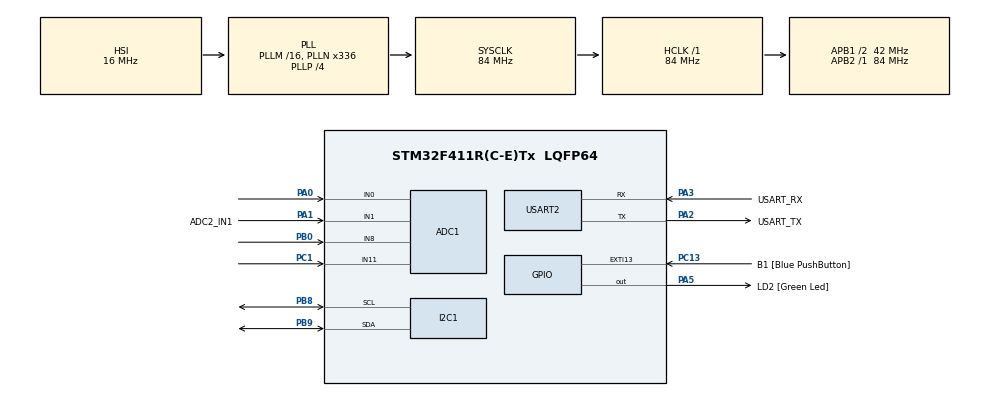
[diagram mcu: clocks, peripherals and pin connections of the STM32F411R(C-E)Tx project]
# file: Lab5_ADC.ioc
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ADC1.Channel-0\#ChannelRegularConversion=ADC_CHANNEL_0
ADC1.Channel-1\#ChannelRegularConversion=ADC_CHANNEL_1
ADC1.Channel-2\#ChannelRegularConversion=ADC_CHANNEL_8
ADC1.Channel-3\#ChannelRegularConversion=ADC_CHANNEL_11
ADC1.ContinuousConvMode=ENABLE
ADC1.NbrOfConversion=4
ADC1.NbrOfConversionFlag=1
ADC1.Rank-0\#ChannelRegularConversion=1
ADC1.Rank-1\#ChannelRegularConversion=2
ADC1.Rank-2\#ChannelRegularConversion=3
ADC1.Rank-3\#ChannelRegularConversion=4
ADC1.SamplingTime-0\#ChannelRegularConversion=ADC_SAMPLETIME_480CYCLES
ADC1.SamplingTime-1\#ChannelRegularConversion=ADC_SAMPLETIME_480CYCLES
ADC1.SamplingTime-2\#ChannelRegularConversion=ADC_SAMPLETIME_480CYCLES
ADC1.SamplingTime-3\#ChannelRegularConversion=ADC_SAMPLETIME_480CYCLES
ADC1.ScanConvMode=ENABLE
ADC1.master=1
Mcu.Family=STM32F4
Mcu.Name=STM32F411R(C-E)Tx
Mcu.Package=LQFP64
NVIC.ADC_IRQn=true\:0\:0\:false\:false\:true\:true\:true\:true
NVIC.PriorityGroup=NVIC_PRIORITYGROUP_0
NVIC.TIM2_IRQn=true\:0\:0\:false\:false\:true\:true\:true\:true
PA0-WKUP.Signal=ADCx_IN0
PA1.GPIO_Label=ADC2_IN1
PA1.Signal=ADCx_IN1
PA13.GPIO_Label=TMS
PA13.Mode=Serial_Wire
PA13.Signal=SYS_JTMS-SWDIO
PA14.GPIO_Label=TCK
PA14.Mode=Serial_Wire
PA14.Signal=SYS_JTCK-SWCLK
PA2.GPIO_Label=USART_TX
PA2.Mode=Asynchronous
PA2.Signal=USART2_TX
PA3.GPIO_Label=USART_RX
PA3.Mode=Asynchronous
PA3.Signal=USART2_RX
PA5.GPIO_Label=LD2 [Green Led]
PA5.Signal=GPIO_Output
PB0.Signal=ADCx_IN8
PB3.GPIO_Label=SWO
PB3.Signal=SYS_JTDO-SWO
PB8.Mode=I2C
PB8.Signal=I2C1_SCL
PB9.Mode=I2C
PB9.Signal=I2C1_SDA
PC1.Signal=ADCx_IN11
PC13-ANTI_TAMP.GPIO_Label=B1 [Blue PushButton]
PC13-ANTI_TAMP.GPIO_ModeDefaultEXTI=GPIO_MODE_IT_FALLING
PC13-ANTI_TAMP.Signal=GPXTI13
PC14-OSC32_IN.Mode=LSE-External-Oscillator
PC14-OSC32_IN.Signal=RCC_OSC32_IN
PC15-OSC32_OUT.Mode=LSE-External-Oscillator
PC15-OSC32_OUT.Signal=RCC_OSC32_OUT
PH0\ -\ OSC_IN.Mode=HSE-External-Clock-Source
PH0\ -\ OSC_IN.Signal=RCC_OSC_IN
PH1\ -\ OSC_OUT.Mode=HSE-External-Clock-Source
PH1\ -\ OSC_OUT.Signal=RCC_OSC_OUT
ProjectManager.HeapSize=0x200
ProjectManager.StackSize=0x400
ProjectManager.TargetToolchain=STM32CubeIDE
RCC.48MHZClocksFreq_Value=84000000
RCC.AHBFreq_Value=84000000
RCC.APB1CLKDivider=RCC_HCLK_DIV2
RCC.APB1Freq_Value=42000000
RCC.APB1TimFreq_Value=84000000
RCC.APB2Freq_Value=84000000
RCC.APB2TimFreq_Value=84000000
RCC.CortexFreq_Value=84000000
RCC.FLatency-AdvancedSettings=FLASH_LATENCY_2
RCC.HCLKFreq_Value=84000000
RCC.HSE_VALUE=8000000
RCC.HSI_VALUE=16000000
RCC.PLLN=336
RCC.PLLP=RCC_PLLP_DIV4
RCC.SYSCLKFreq_VALUE=84000000
RCC.SYSCLKSource=RCC_SYSCLKSOURCE_PLLCLK
RCC.VCOOutputFreq_Value=336000000
SH.ADCx_IN0.0=ADC1_IN0,IN0
SH.ADCx_IN1.0=ADC1_IN1,IN1
SH.ADCx_IN11.0=ADC1_IN11,IN11
SH.ADCx_IN8.0=ADC1_IN8,IN8
TIM2.Prescaler=84-1
USART2.VirtualMode=VM_ASYNC
VP_TIM2_VS_ClockSourceINT.Mode=Internal
board=NUCLEO-F411RE

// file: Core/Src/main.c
/* USER CODE BEGIN Header */
/**
  ******************************************************************************
  * @file           : main.c
  * @brief          : Main program body
  ******************************************************************************
  * @attention
  *
  * Copyright (c) 2023 STMicroelectronics.
  * All rights reserved.
  *
  * This software is licensed under terms that can be found in the LICENSE file
  * in the root directory of this software component.
  * If no LICENSE file comes with this software, it is provided AS-IS.
  *
  ******************************************************************************
  */
/* USER CODE END Header */
#include "main.h"

/* USER CODE BEGIN Includes */
#include "lcd.h"
/* USER CODE END Includes */

/* USER CODE BEGIN PD */
#define ADC_BUF_SIZE 4

#define JOY_X_IX 0
#define JOY_Y_IX 1
#define FOTO_IX 2
#define L35_IX 3

int flag;
uint16_t adc_buffer[ADC_BUF_SIZE];
int adc_buf_ix = 0;
/* USER CODE END PD */

ADC_HandleTypeDef hadc1;

I2C_HandleTypeDef hi2c1;

TIM_HandleTypeDef htim2;

UART_HandleTypeDef huart2;

void SystemClock_Config(void);
static void MX_GPIO_Init(void);
static void MX_USART2_UART_Init(void);
static void MX_ADC1_Init(void);
static void MX_I2C1_Init(void);
static void MX_TIM2_Init(void);

/* USER CODE BEGIN 0 */
uint16_t read_one_adc_value(ADC_HandleTypeDef * hadc)
{
	HAL_ADC_Start(hadc);
	HAL_ADC_PollForConversion(hadc, 100);
	uint32_t reading = HAL_ADC_GetValue(hadc);
	HAL_ADC_Stop(hadc);
	return (uint16_t) reading;
}

float normalize_12bit(uint16_t x) {
    return 1-(float)x / 4095.0f;
}

// Funktion för att normalisera värdena till spannet -1.0 till 1.0
float normalize_12bit_posneg(uint16_t x) {
    return (2.0f * (float)x / 4095.0f) - 1.0f;
}

void print_normalized_value(float value, TextLCDType *hlcd, int number) {
    char buffer[10]; // För att lagra det formaterade värdet

    if(number ==0){
    	sprintf(buffer, "%+.2fx", value);
    	TextLCD_SetPos(hlcd, 0, 0);
    	TextLCD_PutStr(hlcd, buffer);

    }
    else if(number == 1){
    	sprintf(buffer, "%+.2fy", value);
    	TextLCD_SetPos(hlcd, 0, 1);
    	TextLCD_PutStr(hlcd, buffer);
    }
    else if(number == 2){
    	sprintf(buffer, "%.3fL", value);
    	TextLCD_SetPos(hlcd, 10, 1);
    	TextLCD_PutStr(hlcd, buffer);
    }
    else if(number == 3){
    	char degreeSymbol = 248;
    	sprintf(buffer, "%.1fC", value);
    	TextLCD_SetPos(hlcd, 11, 0);
    	TextLCD_PutStr(hlcd, buffer);
    }

    // Här kan du skicka "buffer" till LCD-skärmen för att visa värdet.
    // Exempelvis:
    // lcd_display(buffer); // Anpassa detta efter din LCD-skärms bibliotek
}

HAL_ADC_ConvCpltCallback(ADC_HandleTypeDef* hadc){

	if(hadc->Instance == ADC1){

		//if(__HAL_ADC_GET_FLAG(&hadc1, ADC_FLAG_EOC)){
		uint32_t adc_value = HAL_ADC_GetValue(hadc);
		adc_buffer[adc_buf_ix] =adc_value;
		adc_buf_ix++;

		if(adc_buf_ix >= ADC_BUF_SIZE){
			flag =1;
			adc_buf_ix =0;
		}

		//	}
	}
}

float lm35_to_celsius(uint16_t lm35_reading) {

	    // Konvertera till Celsius genom att dela med 10
	    float celsius = lm35_reading / 10.0f;

	    return celsius/2;
	}

/* USER CODE END 0 */

int main(void)
{

  /* MCU Configuration--------------------------------------------------------*/

  /* Reset of all peripherals, Initializes the Flash interface and the Systick. */
  HAL_Init();

  /* Configure the system clock */
  SystemClock_Config();

  /* Initialize all configured peripherals */
  MX_GPIO_Init();
  MX_USART2_UART_Init();
  MX_ADC1_Init();
  MX_I2C1_Init();
  MX_TIM2_Init();
  /* USER CODE BEGIN 2 */

  	TextLCDType hlcd;

  	TextLCD_Init(&hlcd, &hi2c1, 0x4E);
  	HAL_ADC_Start_IT(&hadc1);

  /* USER CODE END 2 */

  /* Infinite loop */
  /* USER CODE BEGIN WHILE */
  while (1)
  {
	  if (flag == 1){
		  TextLCD_Clear(&hlcd);

		  float value1 = normalize_12bit_posneg(adc_buffer[JOY_X_IX]);
		  print_normalized_value(value1, &hlcd, 0);

		  float value2 = normalize_12bit_posneg(adc_buffer[JOY_Y_IX]);
		  print_normalized_value(value2, &hlcd,1);

		  float value3 = normalize_12bit(adc_buffer[FOTO_IX]);
		  print_normalized_value(value3, &hlcd,2);

		  float value4 = lm35_to_celsius(adc_buffer[L35_IX]);
		  print_normalized_value(value4, &hlcd,3);

		  HAL_Delay(1000);
		  flag =0;

	  }

    /* USER CODE END WHILE */

  }
}

void SystemClock_Config(void)
{
  RCC_OscInitTypeDef RCC_OscInitStruct = {0};
  RCC_ClkInitTypeDef RCC_ClkInitStruct = {0};

  /** Configure the main internal regulator output voltage
  */
  __HAL_RCC_PWR_CLK_ENABLE();
  __HAL_PWR_VOLTAGESCALING_CONFIG(PWR_REGULATOR_VOLTAGE_SCALE1);

  /** Initializes the RCC Oscillators according to the specified parameters
  * in the RCC_OscInitTypeDef structure.
  */
  RCC_OscInitStruct.OscillatorType = RCC_OSCILLATORTYPE_HSI;
  RCC_OscInitStruct.HSIState = RCC_HSI_ON;
  RCC_OscInitStruct.HSICalibrationValue = RCC_HSICALIBRATION_DEFAULT;
  RCC_OscInitStruct.PLL.PLLState = RCC_PLL_ON;
  RCC_OscInitStruct.PLL.PLLSource = RCC_PLLSOURCE_HSI;
  RCC_OscInitStruct.PLL.PLLM = 16;
  RCC_OscInitStruct.PLL.PLLN = 336;
  RCC_OscInitStruct.PLL.PLLP = RCC_PLLP_DIV4;
  RCC_OscInitStruct.PLL.PLLQ = 4;
  if (HAL_RCC_OscConfig(&RCC_OscInitStruct) != HAL_OK)
  {
    Error_Handler();
  }

  /** Initializes the CPU, AHB and APB buses clocks
  */
  RCC_ClkInitStruct.ClockType = RCC_CLOCKTYPE_HCLK|RCC_CLOCKTYPE_SYSCLK
                              |RCC_CLOCKTYPE_PCLK1|RCC_CLOCKTYPE_PCLK2;
  RCC_ClkInitStruct.SYSCLKSource = RCC_SYSCLKSOURCE_PLLCLK;
  RCC_ClkInitStruct.AHBCLKDivider = RCC_SYSCLK_DIV1;
  RCC_ClkInitStruct.APB1CLKDivider = RCC_HCLK_DIV2;
  RCC_ClkInitStruct.APB2CLKDivider = RCC_HCLK_DIV1;

  if (HAL_RCC_ClockConfig(&RCC_ClkInitStruct, FLASH_LATENCY_2) != HAL_OK)
  {
    Error_Handler();
  }
}

static void MX_ADC1_Init(void)
{

  ADC_ChannelConfTypeDef sConfig = {0};

  /** Configure the global features of the ADC (Clock, Resolution, Data Alignment and number of conversion)
  */
  hadc1.Instance = ADC1;
  hadc1.Init.ClockPrescaler = ADC_CLOCK_SYNC_PCLK_DIV4;
  hadc1.Init.Resolution = ADC_RESOLUTION_12B;
  hadc1.Init.ScanConvMode = ENABLE;
  hadc1.Init.ContinuousConvMode = ENABLE;
  hadc1.Init.DiscontinuousConvMode = DISABLE;
  hadc1.Init.ExternalTrigConvEdge = ADC_EXTERNALTRIGCONVEDGE_NONE;
  hadc1.Init.ExternalTrigConv = ADC_SOFTWARE_START;
  hadc1.Init.DataAlign = ADC_DATAALIGN_RIGHT;
  hadc1.Init.NbrOfConversion = 4;
  hadc1.Init.DMAContinuousRequests = DISABLE;
  hadc1.Init.EOCSelection = ADC_EOC_SINGLE_CONV;
  if (HAL_ADC_Init(&hadc1) != HAL_OK)
  {
    Error_Handler();
  }

  /** Configure for the selected ADC regular channel its corresponding rank in the sequencer and its sample time.
  */
  sConfig.Channel = ADC_CHANNEL_0;
  sConfig.Rank = 1;
  sConfig.SamplingTime = ADC_SAMPLETIME_480CYCLES;
  if (HAL_ADC_ConfigChannel(&hadc1, &sConfig) != HAL_OK)
  {
    Error_Handler();
  }

  /** Configure for the selected ADC regular channel its corresponding rank in the sequencer and its sample time.
  */
  sConfig.Channel = ADC_CHANNEL_1;
  sConfig.Rank = 2;
  if (HAL_ADC_ConfigChannel(&hadc1, &sConfig) != HAL_OK)
  {
    Error_Handler();
  }

  /** Configure for the selected ADC regular channel its corresponding rank in the sequencer and its sample time.
  */
  sConfig.Channel = ADC_CHANNEL_8;
  sConfig.Rank = 3;
  if (HAL_ADC_ConfigChannel(&hadc1, &sConfig) != HAL_OK)
  {
    Error_Handler();
  }

  /** Configure for the selected ADC regular channel its corresponding rank in the sequencer and its sample time.
  */
  sConfig.Channel = ADC_CHANNEL_11;
  sConfig.Rank = 4;
  if (HAL_ADC_ConfigChannel(&hadc1, &sConfig) != HAL_OK)
  {
    Error_Handler();
  }

}

static void MX_I2C1_Init(void)
{

  hi2c1.Instance = I2C1;
  hi2c1.Init.ClockSpeed = 100000;
  hi2c1.Init.DutyCycle = I2C_DUTYCYCLE_2;
  hi2c1.Init.OwnAddress1 = 0;
  hi2c1.Init.AddressingMode = I2C_ADDRESSINGMODE_7BIT;
  hi2c1.Init.DualAddressMode = I2C_DUALADDRESS_DISABLE;
  hi2c1.Init.OwnAddress2 = 0;
  hi2c1.Init.GeneralCallMode = I2C_GENERALCALL_DISABLE;
  hi2c1.Init.NoStretchMode = I2C_NOSTRETCH_DISABLE;
  if (HAL_I2C_Init(&hi2c1) != HAL_OK)
  {
    Error_Handler();
  }

}

static void MX_TIM2_Init(void)
{

  TIM_ClockConfigTypeDef sClockSourceConfig = {0};
  TIM_MasterConfigTypeDef sMasterConfig = {0};

  htim2.Instance = TIM2;
  htim2.Init.Prescaler = 84-1;
  htim2.Init.CounterMode = TIM_COUNTERMODE_UP;
  htim2.Init.Period = 4294967295;
  htim2.Init.ClockDivision = TIM_CLOCKDIVISION_DIV1;
  htim2.Init.AutoReloadPreload = TIM_AUTORELOAD_PRELOAD_DISABLE;
  if (HAL_TIM_Base_Init(&htim2) != HAL_OK)
  {
    Error_Handler();
  }
  sClockSourceConfig.ClockSource = TIM_CLOCKSOURCE_INTERNAL;
  if (HAL_TIM_ConfigClockSource(&htim2, &sClockSourceConfig) != HAL_OK)
  {
    Error_Handler();
  }
  sMasterConfig.MasterOutputTrigger = TIM_TRGO_RESET;
  sMasterConfig.MasterSlaveMode = TIM_MASTERSLAVEMODE_DISABLE;
  if (HAL_TIMEx_MasterConfigSynchronization(&htim2, &sMasterConfig) != HAL_OK)
  {
    Error_Handler();
  }

}

static void MX_USART2_UART_Init(void)
{

  huart2.Instance = USART2;
  huart2.Init.BaudRate = 115200;
  huart2.Init.WordLength = UART_WORDLENGTH_8B;
  huart2.Init.StopBits = UART_STOPBITS_1;
  huart2.Init.Parity = UART_PARITY_NONE;
  huart2.Init.Mode = UART_MODE_TX_RX;
  huart2.Init.HwFlowCtl = UART_HWCONTROL_NONE;
  huart2.Init.OverSampling = UART_OVERSAMPLING_16;
  if (HAL_UART_Init(&huart2) != HAL_OK)
  {
    Error_Handler();
  }

}

static void MX_GPIO_Init(void)
{
  GPIO_InitTypeDef GPIO_InitStruct = {0};

  /* GPIO Ports Clock Enable */
  __HAL_RCC_GPIOC_CLK_ENABLE();
  __HAL_RCC_GPIOH_CLK_ENABLE();
  __HAL_RCC_GPIOA_CLK_ENABLE();
  __HAL_RCC_GPIOB_CLK_ENABLE();

  /*Configure GPIO pin Output Level */
  HAL_GPIO_WritePin(LD2_GPIO_Port, LD2_Pin, GPIO_PIN_RESET);

  /*Configure GPIO pin : B1_Pin */
  GPIO_InitStruct.Pin = B1_Pin;
  GPIO_InitStruct.Mode = GPIO_MODE_IT_FALLING;
  GPIO_InitStruct.Pull = GPIO_NOPULL;
  HAL_GPIO_Init(B1_GPIO_Port, &GPIO_InitStruct);

  /*Configure GPIO pin : LD2_Pin */
  GPIO_InitStruct.Pin = LD2_Pin;
  GPIO_InitStruct.Mode = GPIO_MODE_OUTPUT_PP;
  GPIO_InitStruct.Pull = GPIO_NOPULL;
  GPIO_InitStruct.Speed = GPIO_SPEED_FREQ_LOW;
  HAL_GPIO_Init(LD2_GPIO_Port, &GPIO_InitStruct);

}

void Error_Handler(void)
{
  __disable_irq();
  while (1)
  {
  }
}
